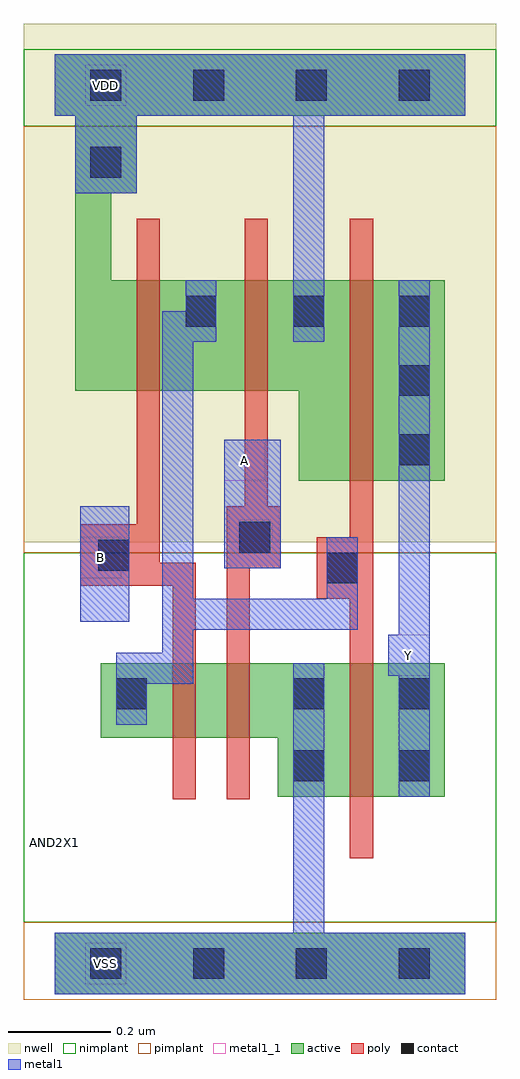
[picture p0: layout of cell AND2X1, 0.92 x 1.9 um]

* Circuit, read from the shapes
.subckt AND2X1 A B VDD VSS Y
M1 n1 B n2 VSS nfet w=0.145u l=0.045u
M2 VSS A n1 VSS nfet w=0.145u l=0.045u
M3 Y n2 VSS VSS nfet w=0.26u l=0.045u
M4 n2 B VDD VDD pfet w=0.215u l=0.045u
M5 VDD A n2 VDD pfet w=0.215u l=0.045u
M6 Y n2 VDD VDD pfet w=0.39u l=0.045u
.ends

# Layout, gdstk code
import gdstk
lib = gdstk.Library(unit=1e-6, precision=5e-10)
def R(c, l, rs):  # rectangles x0, y0, x1, y1
    for r in rs: c.add(gdstk.rectangle(r[:2], r[2:], *l))
def A(c, l, x, y, w, h, nx, ny, dx, dy):  # array of equal rectangles
    R(c, l, [(x+i*dx, y+j*dy, x+i*dx+w, y+j*dy+h) for i in range(nx) for j in range(ny)])
def P(c, l, *ps):  # polygons
    for p in ps: c.add(gdstk.Polygon(p, *l))
active = (1, 0)
nwell = (2, 0)
poly = (3, 0)
nimplant = (4, 0)
pimplant = (5, 0)
contact = (6, 0)
metal1 = (7, 0)
metal1_1 = (7, 1)

and2x1 = lib.new_cell('AND2X1')
R(and2x1, active, [(0,-0.06,0.8,0.06)])
P(and2x1, active, [(0.8,1.77),(0,1.77),(0,1.65),(0.04,1.65),(0.04,1.115),(0.475,1.115),(0.475,0.94),(0.76,0.94),(0.76,1.33),(0.11,1.33),(0.11,1.5),(0.16,1.5),(0.16,1.65),(0.8,1.65)],
  [(0.76,0.585),(0.09,0.585),(0.09,0.44),(0.435,0.44),(0.435,0.325),(0.76,0.325)])
R(and2x1, nwell, [(-0.06,0.82,0.86,1.83)])
P(and2x1, poly, [(0.62,1.45),(0.575,1.45),(0.575,0.83),(0.51,0.83),(0.51,0.71),(0.575,0.71),(0.575,0.205),(0.62,0.205)],
  [(0.44,0.89),(0.415,0.89),(0.415,1.45),(0.37,1.45),(0.37,0.89),(0.335,0.89),(0.335,0.32),(0.38,0.32),(0.38,0.77),(0.44,0.77)],
  [(0.275,0.78),(0.205,0.78),(0.205,1.45),(0.16,1.45),(0.16,0.855),(0.05,0.855),(0.05,0.735),(0.23,0.735),(0.23,0.32),(0.275,0.32)])
R(and2x1, nimplant, [(-0.06,0.08,0.86,0.8), (-0.06,1.63,0.86,1.78)])
R(and2x1, pimplant, [(-0.06,-0.07,0.86,0.08), (-0.06,0.8,0.86,1.63)])
A(and2x1, contact, 0.07, -0.03, 0.06, 0.06, 4, 2, 0.2, 1.71)
A(and2x1, contact, 0.67, 0.97, 0.06, 0.06, 1, 3, 0, 0.135)
R(and2x1, contact, [(0.465,0.355,0.525,0.415), (0.67,0.355,0.73,0.415), (0.12,0.495,0.18,0.555), (0.465,0.495,0.525,0.555), (0.67,0.495,0.73,0.555), (0.53,0.74,0.59,0.8), (0.085,0.765,0.145,0.825), (0.36,0.8,0.42,0.86), (0.255,1.24,0.315,1.3), (0.465,1.24,0.525,1.3), (0.07,1.53,0.13,1.59)])
R(and2x1, metal1, [(0.05,0.665,0.145,0.89), (0.33,0.77,0.44,1.02)])
P(and2x1, metal1, [(0.8,0.06),(0.525,0.06),(0.525,0.585),(0.465,0.585),(0.465,0.06),(0,0.06),(0,-0.06),(0.8,-0.06)],
  [(0.8,1.77),(0,1.77),(0,1.65),(0.04,1.65),(0.04,1.5),(0.16,1.5),(0.16,1.65),(0.465,1.65),(0.465,1.21),(0.525,1.21),(0.525,1.65),(0.8,1.65)],
  [(0.73,1.33),(0.67,1.33),(0.67,0.64),(0.65,0.64),(0.65,0.56),(0.67,0.56),(0.67,0.325),(0.73,0.325)],
  [(0.59,0.83),(0.53,0.83),(0.53,0.71),(0.27,0.71),(0.27,1.21),(0.315,1.21),(0.315,1.33),(0.255,1.33),(0.255,1.27),(0.21,1.27),(0.21,0.605),(0.12,0.605),(0.12,0.465),(0.18,0.465),(0.18,0.545),(0.27,0.545),(0.27,0.65),(0.59,0.65)])
R(and2x1, metal1_1, [(0.06,-0.04,0.14,0.04), (0.65,0.56,0.73,0.64), (0.05,0.75,0.13,0.83), (0.33,0.94,0.41,1.02), (0.06,1.67,0.14,1.75)])
and2x1.add(gdstk.Label('VSS', (0.1,0), layer=7, texttype=1))
and2x1.add(gdstk.Label('Y', (0.69,0.6), layer=7, texttype=1))
and2x1.add(gdstk.Label('A', (0.37,0.98), layer=7, texttype=1))
and2x1.add(gdstk.Label('VDD', (0.1,1.71), layer=7, texttype=1))
and2x1.add(gdstk.Label('B', (0.09,0.79), layer=7, texttype=1))
and2x1.add(gdstk.Label('AND2X1', (0,0.235), layer=63, texttype=0))

lib.write_gds('AND2X1.gds')
